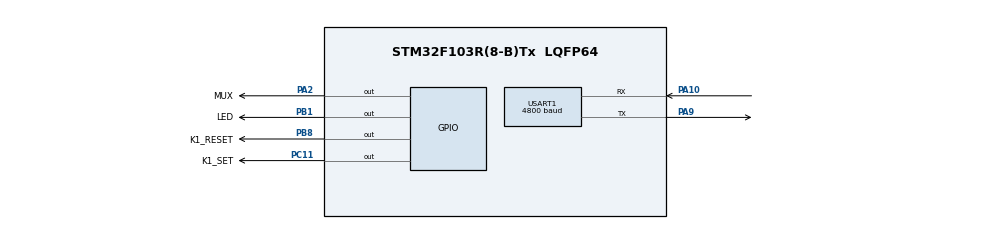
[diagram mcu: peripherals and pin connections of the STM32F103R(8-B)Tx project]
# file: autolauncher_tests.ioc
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Mcu.Family=STM32F1
Mcu.Name=STM32F103R(8-B)Tx
Mcu.Package=LQFP64
NVIC.PriorityGroup=NVIC_PRIORITYGROUP_4
PA10.Mode=Asynchronous
PA10.Signal=USART1_RX
PA13.Mode=Serial_Wire
PA13.Signal=SYS_JTMS-SWDIO
PA14.Mode=Serial_Wire
PA14.Signal=SYS_JTCK-SWCLK
PA2.GPIO_Label=MUX
PA2.Signal=GPIO_Output
PA9.Mode=Asynchronous
PA9.Signal=USART1_TX
PB1.GPIO_Label=LED
PB1.Signal=GPIO_Output
PB8.GPIO_Label=K1_RESET
PB8.Signal=GPIO_Output
PC11.GPIO_Label=K1_SET
PC11.Signal=GPIO_Output
ProjectManager.HeapSize=0x200
ProjectManager.StackSize=0x400
ProjectManager.TargetToolchain=STM32CubeIDE
RCC.APB1Freq_Value=8000000
RCC.APB2Freq_Value=8000000
USART1.BaudRate=4800
USART1.VirtualMode=VM_ASYNC
board=custom

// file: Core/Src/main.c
/* USER CODE BEGIN Header */
/**
  ******************************************************************************
  * @file           : main.c
  * @brief          : Main program body
  ******************************************************************************
  * @attention
  *
  * Copyright (c) 2024 STMicroelectronics.
  * All rights reserved.
  *
  * This software is licensed under terms that can be found in the LICENSE file
  * in the root directory of this software component.
  * If no LICENSE file comes with this software, it is provided AS-IS.
  *
  ******************************************************************************
  */
/* USER CODE END Header */
#include "main.h"

UART_HandleTypeDef huart1;

/* USER CODE BEGIN PV */
const char WELCOME_MSG[] = "Welcome to the Autolauncher console test\r\n";
const char menu[] = "Select an option:\r\n1-Toggle green led\r\n2-Set relay K1\r\n3-Reset relays 1-6\r\n3-Release coils";
const char PROMPT[] =  "\r\n> Enter command: ";
/* USER CODE END PV */

void SystemClock_Config(void);
static void MX_GPIO_Init(void);
static void MX_USART1_UART_Init(void);
/* USER CODE BEGIN PFP */
void printWelcomeMessage(void);
char readInput(void);
uint8_t processInput(char option);
/* USER CODE END PFP */

int main(void)
{

  /* MCU Configuration--------------------------------------------------------*/

  /* Reset of all peripherals, Initializes the Flash interface and the Systick. */
  HAL_Init();

  /* Configure the system clock */
  SystemClock_Config();

  /* Initialize all configured peripherals */
  MX_GPIO_Init();
  MX_USART1_UART_Init();
  /* USER CODE BEGIN 2 */
  HAL_GPIO_WritePin(MUX_GPIO_Port, MUX_Pin, SET); // SET for UART Tx

  printWelcomeMessage();
  /* USER CODE END 2 */

  /* Infinite loop */
  /* USER CODE BEGIN WHILE */
  while (1)
  {
	  char option = readInput();
	  uint8_t result = processInput(option);
    /* USER CODE END WHILE */

  }
}

void SystemClock_Config(void)
{
  RCC_OscInitTypeDef RCC_OscInitStruct = {0};
  RCC_ClkInitTypeDef RCC_ClkInitStruct = {0};

  /** Initializes the RCC Oscillators according to the specified parameters
  * in the RCC_OscInitTypeDef structure.
  */
  RCC_OscInitStruct.OscillatorType = RCC_OSCILLATORTYPE_HSI;
  RCC_OscInitStruct.HSIState = RCC_HSI_ON;
  RCC_OscInitStruct.HSICalibrationValue = RCC_HSICALIBRATION_DEFAULT;
  RCC_OscInitStruct.PLL.PLLState = RCC_PLL_NONE;
  if (HAL_RCC_OscConfig(&RCC_OscInitStruct) != HAL_OK)
  {
    Error_Handler();
  }

  /** Initializes the CPU, AHB and APB buses clocks
  */
  RCC_ClkInitStruct.ClockType = RCC_CLOCKTYPE_HCLK|RCC_CLOCKTYPE_SYSCLK
                              |RCC_CLOCKTYPE_PCLK1|RCC_CLOCKTYPE_PCLK2;
  RCC_ClkInitStruct.SYSCLKSource = RCC_SYSCLKSOURCE_HSI;
  RCC_ClkInitStruct.AHBCLKDivider = RCC_SYSCLK_DIV1;
  RCC_ClkInitStruct.APB1CLKDivider = RCC_HCLK_DIV1;
  RCC_ClkInitStruct.APB2CLKDivider = RCC_HCLK_DIV1;

  if (HAL_RCC_ClockConfig(&RCC_ClkInitStruct, FLASH_LATENCY_0) != HAL_OK)
  {
    Error_Handler();
  }
}

static void MX_USART1_UART_Init(void)
{

  huart1.Instance = USART1;
  huart1.Init.BaudRate = 4800;
  huart1.Init.WordLength = UART_WORDLENGTH_8B;
  huart1.Init.StopBits = UART_STOPBITS_1;
  huart1.Init.Parity = UART_PARITY_NONE;
  huart1.Init.Mode = UART_MODE_TX_RX;
  huart1.Init.HwFlowCtl = UART_HWCONTROL_NONE;
  huart1.Init.OverSampling = UART_OVERSAMPLING_16;
  if (HAL_UART_Init(&huart1) != HAL_OK)
  {
    Error_Handler();
  }

}

static void MX_GPIO_Init(void)
{
  GPIO_InitTypeDef GPIO_InitStruct = {0};

  /* GPIO Ports Clock Enable */
  __HAL_RCC_GPIOA_CLK_ENABLE();
  __HAL_RCC_GPIOB_CLK_ENABLE();
  __HAL_RCC_GPIOC_CLK_ENABLE();

  /*Configure GPIO pin Output Level */
  HAL_GPIO_WritePin(MUX_GPIO_Port, MUX_Pin, GPIO_PIN_RESET);

  /*Configure GPIO pin Output Level */
  HAL_GPIO_WritePin(GPIOB, LED_Pin|K1_RESET_Pin, GPIO_PIN_RESET);

  /*Configure GPIO pin Output Level */
  HAL_GPIO_WritePin(K1_SET_GPIO_Port, K1_SET_Pin, GPIO_PIN_RESET);

  /*Configure GPIO pin : MUX_Pin */
  GPIO_InitStruct.Pin = MUX_Pin;
  GPIO_InitStruct.Mode = GPIO_MODE_OUTPUT_PP;
  GPIO_InitStruct.Pull = GPIO_NOPULL;
  GPIO_InitStruct.Speed = GPIO_SPEED_FREQ_LOW;
  HAL_GPIO_Init(MUX_GPIO_Port, &GPIO_InitStruct);

  /*Configure GPIO pins : LED_Pin K1_RESET_Pin */
  GPIO_InitStruct.Pin = LED_Pin|K1_RESET_Pin;
  GPIO_InitStruct.Mode = GPIO_MODE_OUTPUT_PP;
  GPIO_InitStruct.Pull = GPIO_NOPULL;
  GPIO_InitStruct.Speed = GPIO_SPEED_FREQ_LOW;
  HAL_GPIO_Init(GPIOB, &GPIO_InitStruct);

  /*Configure GPIO pin : K1_SET_Pin */
  GPIO_InitStruct.Pin = K1_SET_Pin;
  GPIO_InitStruct.Mode = GPIO_MODE_OUTPUT_PP;
  GPIO_InitStruct.Pull = GPIO_NOPULL;
  GPIO_InitStruct.Speed = GPIO_SPEED_FREQ_LOW;
  HAL_GPIO_Init(K1_SET_GPIO_Port, &GPIO_InitStruct);

}

/* USER CODE BEGIN 4 */
void printWelcomeMessage(void){
	HAL_UART_Transmit(&huart1, WELCOME_MSG, strlen(WELCOME_MSG), HAL_MAX_DELAY);
	HAL_UART_Transmit(&huart1, menu, strlen(menu), HAL_MAX_DELAY);
}

char readInput(void){
	char rxBuffer[1];

	HAL_UART_Transmit(&huart1, PROMPT, strlen(PROMPT), HAL_MAX_DELAY);
	HAL_UART_Receive(&huart1, rxBuffer, 1, HAL_MAX_DELAY);
	HAL_UART_Transmit(&huart1, rxBuffer, 1, HAL_MAX_DELAY); // echo

	return rxBuffer[0];
}

uint8_t processInput(char option){
	char msg[30];
	char output[20];
	sprintf(msg, "\r\n> Executing OPTION %d...\r\n",option);
	HAL_UART_Transmit(&huart1, msg, strlen(msg), HAL_MAX_DELAY);

	switch(option){
	case '1': // toggle green led
		HAL_GPIO_TogglePin(LED_GPIO_Port, LED_Pin);
		return 0;
	case '2': // Set relay
		// SET relay k1
		HAL_GPIO_WritePin(K1_SET_GPIO_Port, K1_SET_Pin, SET); // set relay
		HAL_Delay(10);
		return 0;
	case '3': // Reset relay
		// RESET relay k1
		HAL_GPIO_WritePin(K1_RESET_GPIO_Port, K1_RESET_Pin, SET); // reset relay and SSR
		HAL_Delay(10);
		return 0;
	case '4': // release coils
		HAL_GPIO_WritePin(K1_SET_GPIO_Port, K1_SET_Pin, RESET); // release coil
		HAL_Delay(10);
		HAL_GPIO_WritePin(K1_RESET_GPIO_Port, K1_RESET_Pin, RESET); // release reset coil
		HAL_Delay(10);
		return 0;
	default:
		sprintf(msg, "\r\n> %d is not a valid option!");
		HAL_UART_Transmit(&huart1, msg, strlen(msg), HAL_MAX_DELAY);
		return 1;
	}

}

/* USER CODE END 4 */

void Error_Handler(void)
{
  __disable_irq();
  while (1)
  {
  }
}
